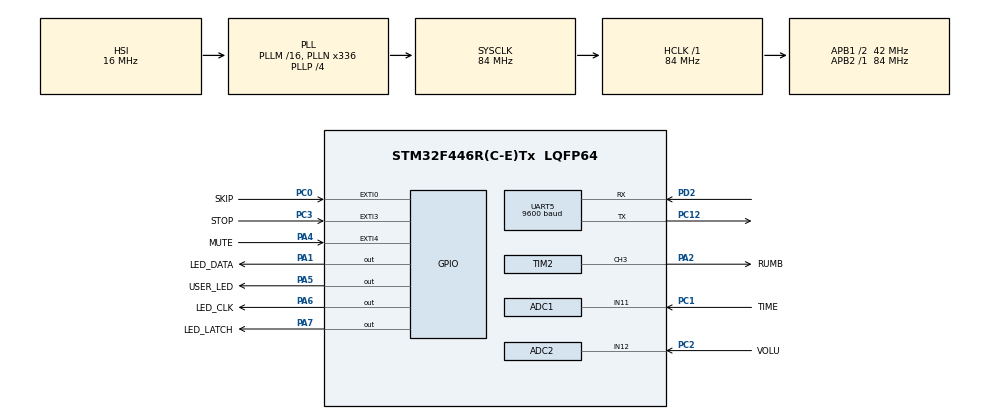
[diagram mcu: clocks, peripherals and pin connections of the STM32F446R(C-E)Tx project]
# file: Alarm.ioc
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ADC1.Channel-0\#ChannelRegularConversion=ADC_CHANNEL_11
ADC1.ClockPrescaler=ADC_CLOCK_SYNC_PCLK_DIV8
ADC1.ContinuousConvMode=ENABLE
ADC1.DMAContinuousRequests=ENABLE
ADC1.EnableAnalogWatchDog=false
ADC1.ExternalTrigConv=ADC_SOFTWARE_START
ADC1.NbrOfConversionFlag=1
ADC1.Rank-0\#ChannelRegularConversion=1
ADC1.Resolution=ADC_RESOLUTION_10B
ADC1.SamplingTime-0\#ChannelRegularConversion=ADC_SAMPLETIME_3CYCLES
ADC1.master=1
ADC2.Channel-0\#ChannelRegularConversion=ADC_CHANNEL_12
ADC2.ClockPrescaler=ADC_CLOCK_SYNC_PCLK_DIV8
ADC2.ContinuousConvMode=ENABLE
ADC2.DMAContinuousRequests=ENABLE
ADC2.NbrOfConversionFlag=1
ADC2.Rank-0\#ChannelRegularConversion=1
ADC2.Resolution=ADC_RESOLUTION_6B
ADC2.SamplingTime-0\#ChannelRegularConversion=ADC_SAMPLETIME_3CYCLES
Dma.ADC1.0.Direction=DMA_PERIPH_TO_MEMORY
Dma.ADC1.0.FIFOMode=DMA_FIFOMODE_ENABLE
Dma.ADC1.0.FIFOThreshold=DMA_FIFO_THRESHOLD_HALFFULL
Dma.ADC1.0.Instance=DMA2_Stream0
Dma.ADC1.0.MemBurst=DMA_MBURST_SINGLE
Dma.ADC1.0.MemDataAlignment=DMA_MDATAALIGN_HALFWORD
Dma.ADC1.0.MemInc=DMA_MINC_ENABLE
Dma.ADC1.0.Mode=DMA_CIRCULAR
Dma.ADC1.0.PeriphBurst=DMA_PBURST_SINGLE
Dma.ADC1.0.PeriphDataAlignment=DMA_PDATAALIGN_HALFWORD
Dma.ADC1.0.PeriphInc=DMA_PINC_DISABLE
Dma.ADC1.0.Priority=DMA_PRIORITY_MEDIUM
Dma.ADC2.1.Direction=DMA_PERIPH_TO_MEMORY
Dma.ADC2.1.FIFOMode=DMA_FIFOMODE_DISABLE
Dma.ADC2.1.Instance=DMA2_Stream2
Dma.ADC2.1.MemDataAlignment=DMA_MDATAALIGN_BYTE
Dma.ADC2.1.MemInc=DMA_MINC_ENABLE
Dma.ADC2.1.Mode=DMA_NORMAL
Dma.ADC2.1.PeriphDataAlignment=DMA_PDATAALIGN_BYTE
Dma.ADC2.1.PeriphInc=DMA_PINC_DISABLE
Dma.ADC2.1.Priority=DMA_PRIORITY_LOW
Dma.Request0=ADC1
Dma.Request1=ADC2
Mcu.Family=STM32F4
Mcu.Name=STM32F446R(C-E)Tx
Mcu.Package=LQFP64
NVIC.DMA2_Stream0_IRQn=true\:0\:0\:false\:false\:true\:false\:true\:true
NVIC.DMA2_Stream2_IRQn=true\:0\:0\:false\:false\:true\:false\:true\:true
NVIC.EXTI0_IRQn=true\:0\:0\:false\:false\:true\:true\:true\:true
NVIC.EXTI3_IRQn=true\:0\:0\:false\:false\:true\:true\:true\:true
NVIC.EXTI4_IRQn=true\:0\:0\:false\:false\:true\:true\:true\:true
NVIC.PriorityGroup=NVIC_PRIORITYGROUP_0
NVIC.TIM3_IRQn=true\:0\:0\:false\:false\:true\:true\:true\:true
PA1.GPIO_Label=LED_DATA
PA1.Signal=GPIO_Output
PA2.GPIO_Label=RUMB
PA2.Signal=S_TIM2_CH3
PA4.GPIO_Label=MUTE
PA4.Signal=GPXTI4
PA5.GPIO_Label=USER_LED
PA5.Signal=GPIO_Output
PA6.GPIO_Label=LED_CLK
PA6.Signal=GPIO_Output
PA7.GPIO_Label=LED_LATCH
PA7.Signal=GPIO_Output
PC0.GPIO_Label=SKIP
PC0.GPIO_PuPd=GPIO_PULLUP
PC0.Signal=GPXTI0
PC1.GPIO_Label=TIME
PC1.Signal=ADCx_IN11
PC12.Mode=Asynchronous
PC12.Signal=UART5_TX
PC2.GPIO_Label=VOLU
PC2.Signal=ADCx_IN12
PC3.GPIO_Label=STOP
PC3.GPIO_PuPd=GPIO_PULLUP
PC3.Signal=GPXTI3
PD2.Mode=Asynchronous
PD2.Signal=UART5_RX
ProjectManager.HeapSize=0x200
ProjectManager.StackSize=0x400
ProjectManager.TargetToolchain=STM32CubeIDE
RCC.48MHZClocksFreq_Value=84000000
RCC.AHBFreq_Value=84000000
RCC.APB1CLKDivider=RCC_HCLK_DIV2
RCC.APB1Freq_Value=42000000
RCC.APB1TimFreq_Value=84000000
RCC.APB2Freq_Value=84000000
RCC.APB2TimCLKDivider=2
RCC.APB2TimFreq_Value=168000000
RCC.CortexFreq_Value=84000000
RCC.FLatency-AdvancedSettings=FLASH_LATENCY_2
RCC.HCLKFreq_Value=84000000
RCC.HSE_VALUE=8000000
RCC.HSI_VALUE=16000000
RCC.PLLN=336
RCC.PLLP=RCC_PLLP_DIV4
RCC.SYSCLKFreq_VALUE=84000000
RCC.SYSCLKSource=RCC_SYSCLKSOURCE_PLLCLK
RCC.USBFreq_Value=168000000
RCC.VCOOutputFreq_Value=336000000
SH.ADCx_IN11.0=ADC1_IN11,IN11
SH.ADCx_IN12.0=ADC2_IN12,IN12
SH.S_TIM2_CH3.0=TIM2_CH3,PWM Generation3 CH3
TIM2.Channel-PWM\ Generation3\ CH3=TIM_CHANNEL_3
TIM2.Period=0
TIM2.Prescaler=59999
TIM3.Period=8399
TIM3.Prescaler=9999
UART5.BaudRate=9600
UART5.Mode=MODE_TX
UART5.VirtualMode=Asynchronous
VP_TIM2_VS_ClockSourceINT.Mode=Internal
VP_TIM3_VS_ClockSourceINT.Mode=Internal
board=NUCLEO-F446RE

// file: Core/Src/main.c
/* USER CODE BEGIN Header */
/**
  ******************************************************************************
  * @file           : main.c
  * @brief          : Main program body
  ******************************************************************************
  * @attention
  *
  * Copyright (c) 2025 STMicroelectronics.
  * All rights reserved.
  *
  * This software is licensed under terms that can be found in the LICENSE file
  * in the root directory of this software component.
  * If no LICENSE file comes with this software, it is provided AS-IS.
  *
  ******************************************************************************
  */
/* USER CODE END Header */
#include "main.h"
#include <math.h>
#include <stdlib.h>

ADC_HandleTypeDef hadc1;
ADC_HandleTypeDef hadc2;
DMA_HandleTypeDef hdma_adc1;
DMA_HandleTypeDef hdma_adc2;

TIM_HandleTypeDef htim2;
TIM_HandleTypeDef htim3;

UART_HandleTypeDef huart5;

void SystemClock_Config(void);
static void MX_GPIO_Init(void);
static void MX_DMA_Init(void);
static void MX_ADC1_Init(void);
static void MX_UART5_Init(void);
static void MX_ADC2_Init(void);
static void MX_TIM3_Init(void);
static void MX_TIM2_Init(void);
/* USER CODE BEGIN PFP */

// MP3 Module
uint8_t volume = 0;
uint8_t checksum = 0;
uint8_t UART_RESET[] = {0x7E, 0xFF, 0x06, 0x0C, 0x00, 0x00, 0x00, 0xFE, 0xEF, 0xEF};
const uint8_t UART_PLAY[] = {0x7E, 0xFF, 0x06, 0x03, 0x00, 0x00, 0x01, 0xFE, 0xF7, 0xEF};
const uint8_t UART_STOP[] = {0x7E, 0xFF, 0x06, 0x0E, 0x00, 0x00, 0x00, 0xFE, 0xED, 0xEF};
uint8_t UART_VOLUME[] = {0x7E, 0xFF, 0x06, 0x06, 0x00, 0x00, 0x00, 0xFE, 0x00, 0xEF};

//  RUMBLE MOTORS

// LED ARRAY
uint8_t LED_ARRAY[16];

// ALARM LOGIC
// the current time according to the MPU, updated every loop
uint32_t currentTime = 0;
// the total length of time between 0 and 12 hours (s)
const uint16_t totalTime = 60 * 60 * 12;
// the time at which to sound the alarm (in ms?)
uint32_t wakeUpTime = 0; //TO-DO
// boolean to track whether or not to sound the alarm
uint8_t wokeUp = 1;
// int to track the number of times the alarm has been slept through in a cycle
uint8_t oversleeps = 0;
uint32_t lastRepeatTime = 0;

// ADC-DMA
#define ADC1_DMA_BUFFER_SIZE 100
volatile uint16_t adc1_dma_buffer[ADC1_DMA_BUFFER_SIZE];
volatile uint32_t avgBuffer = 0;
#define ADC2_DMA_BUFFER_SIZE 1
volatile uint8_t adc2_dma_buffer[ADC2_DMA_BUFFER_SIZE];

/* USER CODE END PFP */

/* USER CODE BEGIN 0 */

	// LED ARRAY //////////////////////////////////////////////////////////////////////////

	void CALC_LED(void) {
		uint8_t hours = round((wakeUpTime % totalTime) / totalTime * 12.0f);
		for (int i = 0; i < hours; i++) {
			LED_ARRAY[i] = 1;
		}
		for (int i = hours; i < 16; i++) {
			LED_ARRAY[i] = 0;
		}
	}

	void UPDATE_LED(void) {
		// turn on the latch pin (data is allowed to change)
		HAL_GPIO_WritePin(LED_LATCH_GPIO_Port, LED_LATCH_Pin, 1);
		// for all 12 LEDs, turn them on or off based on their corresponding values in the LED array
		// and initiate a rising clock edge so that data transfers
		for (int i = 0; i < 12; i++) {
			HAL_GPIO_WritePin(LED_CLK_GPIO_Port, LED_CLK_Pin, 0);
			HAL_GPIO_WritePin(LED_DATA_GPIO_Port, LED_DATA_Pin, LED_ARRAY[i]); // data is prepared before rising edge
			HAL_GPIO_WritePin(LED_CLK_GPIO_Port, LED_CLK_Pin, 1);
		}
		HAL_GPIO_WritePin(LED_LATCH_GPIO_Port, LED_LATCH_Pin, 0);
		// reset the latch pin (data is done being transferred)
	}

	// MP3 MODULE /////////////////////////////////////////////////////////////////////////

	void MP3_RESET(void) {
		HAL_UART_Transmit(&huart5, UART_RESET, sizeof(UART_RESET), HAL_MAX_DELAY);
	}

	void MP3_PLAY(void) {
		HAL_UART_Transmit(&huart5, UART_PLAY, sizeof(UART_PLAY), HAL_MAX_DELAY);
	}

	void MP3_STOP(void) {
		HAL_UART_Transmit(&huart5, UART_STOP, sizeof(UART_STOP), HAL_MAX_DELAY);
	}

	void MP3_VOLUME(void) {
		HAL_UART_Transmit(&huart5, UART_VOLUME, sizeof(UART_VOLUME), HAL_MAX_DELAY);
	}

	// RUMBLE MOTORS //////////////////////////////////////////////////////////////////////

	void SOUND_RUMBLE(double speed) {
		__HAL_TIM_SET_COMPARE(&htim2, TIM_CHANNEL_3, (uint8_t) speed * 1400);
	}

	void MUTE_RUMBLE(void) {
		SOUND_RUMBLE(0);
	}

	// VOLUME POTENTIOMETEqR ///////////////////////////////////////////////////////////////

	uint8_t CHECKSUM_VOLUME(uint8_t volume) {
		return 0xD7 + 30 - volume;
	}

	void UPDATE_VOLUME(void) {
		// convert analog pot value to volume
		volume = (double) *adc2_dma_buffer / 64 * 30;
		// send command to MP3 Module
		UART_VOLUME[6] = volume;
		UART_VOLUME[8] = CHECKSUM_VOLUME(volume);
		MP3_VOLUME();
	}

	// TIME POTENTIOMETER ///////////////////////////////////////////////////////////////

	/*
	 * Moving average filter
	 * If the average of the values in the ADC1 DMA buffer
	 * has changed a sufficient amount, set a new timer value
	 */
	void CALC_AVG() {
		// calculate the current avg of pot values in DMA buffer
		uint32_t avg = 0;
		for (int i = 0; i < ADC1_DMA_BUFFER_SIZE; i++) {
			avg += adc1_dma_buffer[i];
		}
		avg /= (double) ADC1_DMA_BUFFER_SIZE;

		if (abs(avg - avgBuffer) > .03 * 1024) {
			avgBuffer = avg;
			wakeUpTime = (double) avgBuffer / 1024 * totalTime + currentTime;
		}

	}

	void UPDATE_TIME(void) {
		// convert analog pot value to time
		CALC_AVG();
		// light up the corresponding number of LEDs
		CALC_LED();
		UPDATE_LED();
		// TO-DO: ADD FADING OUT LOGIC; MAYBE WATCHDOG OR INTERRUPTS
	}

	// SKIP BUTTON //////////////////////////////////////////////////////////////////////

	void SKIP_ALARM(void) {
		wakeUpTime += totalTime * 2; // increment the time of alarm by one day
	}

	// SKIP BUTTON //////////////////////////////////////////////////////////////////////

	void STOP_ALARM(void) {
		wokeUp = 1; // reset wake-up tracker variable
		// pause the MP3 Module and Rumble Motors
		MP3_STOP();
		SOUND_RUMBLE(0);
		oversleeps = 0; // reset oversleeping tracker variable
	}

	// ALARM LOGIC //////////////////////////////////////////////////////////////////////

	uint8_t isWakeUpTime() {
		// if it is past wake-up time, increment wake-up time
		if (currentTime > wakeUpTime) {
			wakeUpTime += totalTime * 2;
			wokeUp = 0; // change wake-up tracker variable
			return 1;
		}
		// return whether or not the alarm should sleep or be on
		return 0;
	}

	void SOUND_ALARM(void) {
		// if it has been [the waiting times of the alarm before sounding again when oversleeping; 9, 6, and 3 minutes]
		// then resound the alarm and cue the rumble motors
		if (currentTime - lastRepeatTime > ((4 - oversleeps) % 4) * totalTime / 144.0) {
			MP3_PLAY();
			SOUND_RUMBLE(oversleeps / 3.0);
			oversleeps++; // change the oversleeping tracker variable
			lastRepeatTime = currentTime; // change the last repeat time tracker variable
		}
		// stop the rumble motors after 9 seconds
		if (currentTime - lastRepeatTime > totalTime / 4800.0) {
			SOUND_RUMBLE(0);
			// once the 3rd oversleep has ended, reset everything and wait for the next day
			if (oversleeps == 4) {
				oversleeps = 0;
				wokeUp = 1;
			}
		}
	}

	// INTERRUPTS ///////////////////////////////////////////////////////////////////////

	void HAL_GPIO_EXTI_Callback(uint16_t GPIO_Pin) {
		if (GPIO_Pin == STOP_Pin) {
			STOP_ALARM();
		}

		if (GPIO_Pin == SKIP_Pin) {
			SKIP_ALARM();
		}

		if (GPIO_Pin == MUTE_Pin) {
			MUTE_RUMBLE();
		}
	}

	void HAL_TIM_PeriodElapsedCallback(TIM_HandleTypeDef *htim) {
		currentTime++; // increment the current-time tracker variable
	}

	// RUN MAIN PROGRAM ////////////////////////////////////////////////////////////////

	void RUN(void) {
		UPDATE_VOLUME();
		UPDATE_TIME();
	    if (isWakeUpTime() || !wokeUp) {
	    	SOUND_ALARM();
	    }
	}

	// TESTS ///////////////////////////////////////////////////////////////////////////

	void USER_LED(uint8_t bit) {
		HAL_GPIO_WritePin(USER_LED_GPIO_Port, USER_LED_Pin, bit);
	}

	void USER_LED_BLINK_DUR(double durSeconds) {
		USER_LED(1);
		HAL_Delay(durSeconds * 1000);
		USER_LED(0);
	}

	void USER_LED_BLINK() {
		USER_LED(1);
		HAL_Delay(.5 * 1000);
		USER_LED(0);
	}

/* USER CODE END 0 */

int main(void)
{

  /* MCU Configuration--------------------------------------------------------*/

  /* Reset of all peripherals, Initializes the Flash interface and the Systick. */
  HAL_Init();

  /* Configure the system clock */
  SystemClock_Config();

  /* Initialize all configured peripherals */
  MX_GPIO_Init();
  MX_DMA_Init();
  MX_ADC1_Init();
  MX_UART5_Init();
  MX_ADC2_Init();
  MX_TIM3_Init();
  MX_TIM2_Init();
  /* USER CODE BEGIN 2 */

  HAL_TIM_Base_Start_IT(&htim3);
  HAL_TIM_PWM_Start(&htim2, TIM_CHANNEL_3);

  HAL_ADC_Start(&hadc1);
  HAL_ADC_Start(&hadc2);

  HAL_ADC_Start_DMA(&hadc1, (uint32_t *) adc1_dma_buffer, ADC1_DMA_BUFFER_SIZE);
  HAL_ADC_Start_DMA(&hadc2, (uint32_t *) adc2_dma_buffer, ADC2_DMA_BUFFER_SIZE);

  /* USER CODE END 2 */

  /* Infinite loop */
  /* USER CODE BEGIN WHILE */
  while (1)
  {
	  UPDATE_VOLUME();
	  UPDATE_TIME();
    /* USER CODE END WHILE */

  }
}

void SystemClock_Config(void)
{
  RCC_OscInitTypeDef RCC_OscInitStruct = {0};
  RCC_ClkInitTypeDef RCC_ClkInitStruct = {0};

  /** Configure the main internal regulator output voltage
  */
  __HAL_RCC_PWR_CLK_ENABLE();
  __HAL_PWR_VOLTAGESCALING_CONFIG(PWR_REGULATOR_VOLTAGE_SCALE3);

  /** Initializes the RCC Oscillators according to the specified parameters
  * in the RCC_OscInitTypeDef structure.
  */
  RCC_OscInitStruct.OscillatorType = RCC_OSCILLATORTYPE_HSI;
  RCC_OscInitStruct.HSIState = RCC_HSI_ON;
  RCC_OscInitStruct.HSICalibrationValue = RCC_HSICALIBRATION_DEFAULT;
  RCC_OscInitStruct.PLL.PLLState = RCC_PLL_ON;
  RCC_OscInitStruct.PLL.PLLSource = RCC_PLLSOURCE_HSI;
  RCC_OscInitStruct.PLL.PLLM = 16;
  RCC_OscInitStruct.PLL.PLLN = 336;
  RCC_OscInitStruct.PLL.PLLP = RCC_PLLP_DIV4;
  RCC_OscInitStruct.PLL.PLLQ = 2;
  RCC_OscInitStruct.PLL.PLLR = 2;
  if (HAL_RCC_OscConfig(&RCC_OscInitStruct) != HAL_OK)
  {
    Error_Handler();
  }

  /** Initializes the CPU, AHB and APB buses clocks
  */
  RCC_ClkInitStruct.ClockType = RCC_CLOCKTYPE_HCLK|RCC_CLOCKTYPE_SYSCLK
                              |RCC_CLOCKTYPE_PCLK1|RCC_CLOCKTYPE_PCLK2;
  RCC_ClkInitStruct.SYSCLKSource = RCC_SYSCLKSOURCE_PLLCLK;
  RCC_ClkInitStruct.AHBCLKDivider = RCC_SYSCLK_DIV1;
  RCC_ClkInitStruct.APB1CLKDivider = RCC_HCLK_DIV2;
  RCC_ClkInitStruct.APB2CLKDivider = RCC_HCLK_DIV1;

  if (HAL_RCC_ClockConfig(&RCC_ClkInitStruct, FLASH_LATENCY_2) != HAL_OK)
  {
    Error_Handler();
  }
}

static void MX_ADC1_Init(void)
{

  ADC_ChannelConfTypeDef sConfig = {0};

  /** Configure the global features of the ADC (Clock, Resolution, Data Alignment and number of conversion)
  */
  hadc1.Instance = ADC1;
  hadc1.Init.ClockPrescaler = ADC_CLOCK_SYNC_PCLK_DIV8;
  hadc1.Init.Resolution = ADC_RESOLUTION_10B;
  hadc1.Init.ScanConvMode = DISABLE;
  hadc1.Init.ContinuousConvMode = ENABLE;
  hadc1.Init.DiscontinuousConvMode = DISABLE;
  hadc1.Init.ExternalTrigConvEdge = ADC_EXTERNALTRIGCONVEDGE_NONE;
  hadc1.Init.ExternalTrigConv = ADC_SOFTWARE_START;
  hadc1.Init.DataAlign = ADC_DATAALIGN_RIGHT;
  hadc1.Init.NbrOfConversion = 1;
  hadc1.Init.DMAContinuousRequests = ENABLE;
  hadc1.Init.EOCSelection = ADC_EOC_SINGLE_CONV;
  if (HAL_ADC_Init(&hadc1) != HAL_OK)
  {
    Error_Handler();
  }

  /** Configure for the selected ADC regular channel its corresponding rank in the sequencer and its sample time.
  */
  sConfig.Channel = ADC_CHANNEL_11;
  sConfig.Rank = 1;
  sConfig.SamplingTime = ADC_SAMPLETIME_3CYCLES;
  if (HAL_ADC_ConfigChannel(&hadc1, &sConfig) != HAL_OK)
  {
    Error_Handler();
  }

}

static void MX_ADC2_Init(void)
{

  ADC_ChannelConfTypeDef sConfig = {0};

  /** Configure the global features of the ADC (Clock, Resolution, Data Alignment and number of conversion)
  */
  hadc2.Instance = ADC2;
  hadc2.Init.ClockPrescaler = ADC_CLOCK_SYNC_PCLK_DIV8;
  hadc2.Init.Resolution = ADC_RESOLUTION_6B;
  hadc2.Init.ScanConvMode = DISABLE;
  hadc2.Init.ContinuousConvMode = ENABLE;
  hadc2.Init.DiscontinuousConvMode = DISABLE;
  hadc2.Init.ExternalTrigConvEdge = ADC_EXTERNALTRIGCONVEDGE_NONE;
  hadc2.Init.ExternalTrigConv = ADC_SOFTWARE_START;
  hadc2.Init.DataAlign = ADC_DATAALIGN_RIGHT;
  hadc2.Init.NbrOfConversion = 1;
  hadc2.Init.DMAContinuousRequests = ENABLE;
  hadc2.Init.EOCSelection = ADC_EOC_SINGLE_CONV;
  if (HAL_ADC_Init(&hadc2) != HAL_OK)
  {
    Error_Handler();
  }

  /** Configure for the selected ADC regular channel its corresponding rank in the sequencer and its sample time.
  */
  sConfig.Channel = ADC_CHANNEL_12;
  sConfig.Rank = 1;
  sConfig.SamplingTime = ADC_SAMPLETIME_3CYCLES;
  if (HAL_ADC_ConfigChannel(&hadc2, &sConfig) != HAL_OK)
  {
    Error_Handler();
  }

}

static void MX_TIM2_Init(void)
{

  TIM_ClockConfigTypeDef sClockSourceConfig = {0};
  TIM_MasterConfigTypeDef sMasterConfig = {0};
  TIM_OC_InitTypeDef sConfigOC = {0};

  htim2.Instance = TIM2;
  htim2.Init.Prescaler = 59999;
  htim2.Init.CounterMode = TIM_COUNTERMODE_UP;
  htim2.Init.Period = 0;
  htim2.Init.ClockDivision = TIM_CLOCKDIVISION_DIV1;
  htim2.Init.AutoReloadPreload = TIM_AUTORELOAD_PRELOAD_DISABLE;
  if (HAL_TIM_Base_Init(&htim2) != HAL_OK)
  {
    Error_Handler();
  }
  sClockSourceConfig.ClockSource = TIM_CLOCKSOURCE_INTERNAL;
  if (HAL_TIM_ConfigClockSource(&htim2, &sClockSourceConfig) != HAL_OK)
  {
    Error_Handler();
  }
  if (HAL_TIM_PWM_Init(&htim2) != HAL_OK)
  {
    Error_Handler();
  }
  sMasterConfig.MasterOutputTrigger = TIM_TRGO_RESET;
  sMasterConfig.MasterSlaveMode = TIM_MASTERSLAVEMODE_DISABLE;
  if (HAL_TIMEx_MasterConfigSynchronization(&htim2, &sMasterConfig) != HAL_OK)
  {
    Error_Handler();
  }
  sConfigOC.OCMode = TIM_OCMODE_PWM1;
  sConfigOC.Pulse = 0;
  sConfigOC.OCPolarity = TIM_OCPOLARITY_HIGH;
  sConfigOC.OCFastMode = TIM_OCFAST_DISABLE;
  if (HAL_TIM_PWM_ConfigChannel(&htim2, &sConfigOC, TIM_CHANNEL_3) != HAL_OK)
  {
    Error_Handler();
  }
  HAL_TIM_MspPostInit(&htim2);

}

static void MX_TIM3_Init(void)
{

  TIM_ClockConfigTypeDef sClockSourceConfig = {0};
  TIM_MasterConfigTypeDef sMasterConfig = {0};

  htim3.Instance = TIM3;
  htim3.Init.Prescaler = 9999;
  htim3.Init.CounterMode = TIM_COUNTERMODE_UP;
  htim3.Init.Period = 8399;
  htim3.Init.ClockDivision = TIM_CLOCKDIVISION_DIV1;
  htim3.Init.AutoReloadPreload = TIM_AUTORELOAD_PRELOAD_DISABLE;
  if (HAL_TIM_Base_Init(&htim3) != HAL_OK)
  {
    Error_Handler();
  }
  sClockSourceConfig.ClockSource = TIM_CLOCKSOURCE_INTERNAL;
  if (HAL_TIM_ConfigClockSource(&htim3, &sClockSourceConfig) != HAL_OK)
  {
    Error_Handler();
  }
  sMasterConfig.MasterOutputTrigger = TIM_TRGO_RESET;
  sMasterConfig.MasterSlaveMode = TIM_MASTERSLAVEMODE_DISABLE;
  if (HAL_TIMEx_MasterConfigSynchronization(&htim3, &sMasterConfig) != HAL_OK)
  {
    Error_Handler();
  }

}

static void MX_UART5_Init(void)
{

  huart5.Instance = UART5;
  huart5.Init.BaudRate = 9600;
  huart5.Init.WordLength = UART_WORDLENGTH_8B;
  huart5.Init.StopBits = UART_STOPBITS_1;
  huart5.Init.Parity = UART_PARITY_NONE;
  huart5.Init.Mode = UART_MODE_TX;
  huart5.Init.HwFlowCtl = UART_HWCONTROL_NONE;
  huart5.Init.OverSampling = UART_OVERSAMPLING_16;
  if (HAL_UART_Init(&huart5) != HAL_OK)
  {
    Error_Handler();
  }
  /* USER CODE BEGIN UART5_Init 2 */
  MP3_RESET();
  HAL_Delay(3000);
  /* USER CODE END UART5_Init 2 */

}

static void MX_DMA_Init(void)
{

  /* DMA controller clock enable */
  __HAL_RCC_DMA2_CLK_ENABLE();

  /* DMA interrupt init */
  /* DMA2_Stream0_IRQn interrupt configuration */
  HAL_NVIC_SetPriority(DMA2_Stream0_IRQn, 0, 0);
  HAL_NVIC_EnableIRQ(DMA2_Stream0_IRQn);
  /* DMA2_Stream2_IRQn interrupt configuration */
  HAL_NVIC_SetPriority(DMA2_Stream2_IRQn, 0, 0);
  HAL_NVIC_EnableIRQ(DMA2_Stream2_IRQn);

}

static void MX_GPIO_Init(void)
{
  GPIO_InitTypeDef GPIO_InitStruct = {0};

  /* GPIO Ports Clock Enable */
  __HAL_RCC_GPIOC_CLK_ENABLE();
  __HAL_RCC_GPIOA_CLK_ENABLE();
  __HAL_RCC_GPIOD_CLK_ENABLE();

  /*Configure GPIO pin Output Level */
  HAL_GPIO_WritePin(GPIOA, LED_DATA_Pin|USER_LED_Pin|LED_CLK_Pin|LED_LATCH_Pin, GPIO_PIN_RESET);

  /*Configure GPIO pins : SKIP_Pin STOP_Pin */
  GPIO_InitStruct.Pin = SKIP_Pin|STOP_Pin;
  GPIO_InitStruct.Mode = GPIO_MODE_IT_RISING;
  GPIO_InitStruct.Pull = GPIO_PULLUP;
  HAL_GPIO_Init(GPIOC, &GPIO_InitStruct);

  /*Configure GPIO pins : LED_DATA_Pin USER_LED_Pin LED_CLK_Pin LED_LATCH_Pin */
  GPIO_InitStruct.Pin = LED_DATA_Pin|USER_LED_Pin|LED_CLK_Pin|LED_LATCH_Pin;
  GPIO_InitStruct.Mode = GPIO_MODE_OUTPUT_PP;
  GPIO_InitStruct.Pull = GPIO_NOPULL;
  GPIO_InitStruct.Speed = GPIO_SPEED_FREQ_LOW;
  HAL_GPIO_Init(GPIOA, &GPIO_InitStruct);

  /*Configure GPIO pin : MUTE_Pin */
  GPIO_InitStruct.Pin = MUTE_Pin;
  GPIO_InitStruct.Mode = GPIO_MODE_IT_RISING;
  GPIO_InitStruct.Pull = GPIO_NOPULL;
  HAL_GPIO_Init(MUTE_GPIO_Port, &GPIO_InitStruct);

  /* EXTI interrupt init*/
  HAL_NVIC_SetPriority(EXTI0_IRQn, 0, 0);
  HAL_NVIC_EnableIRQ(EXTI0_IRQn);

  HAL_NVIC_SetPriority(EXTI3_IRQn, 0, 0);
  HAL_NVIC_EnableIRQ(EXTI3_IRQn);

  HAL_NVIC_SetPriority(EXTI4_IRQn, 0, 0);
  HAL_NVIC_EnableIRQ(EXTI4_IRQn);

}

void Error_Handler(void)
{
  __disable_irq();
  while (1)
  {
  }
}
